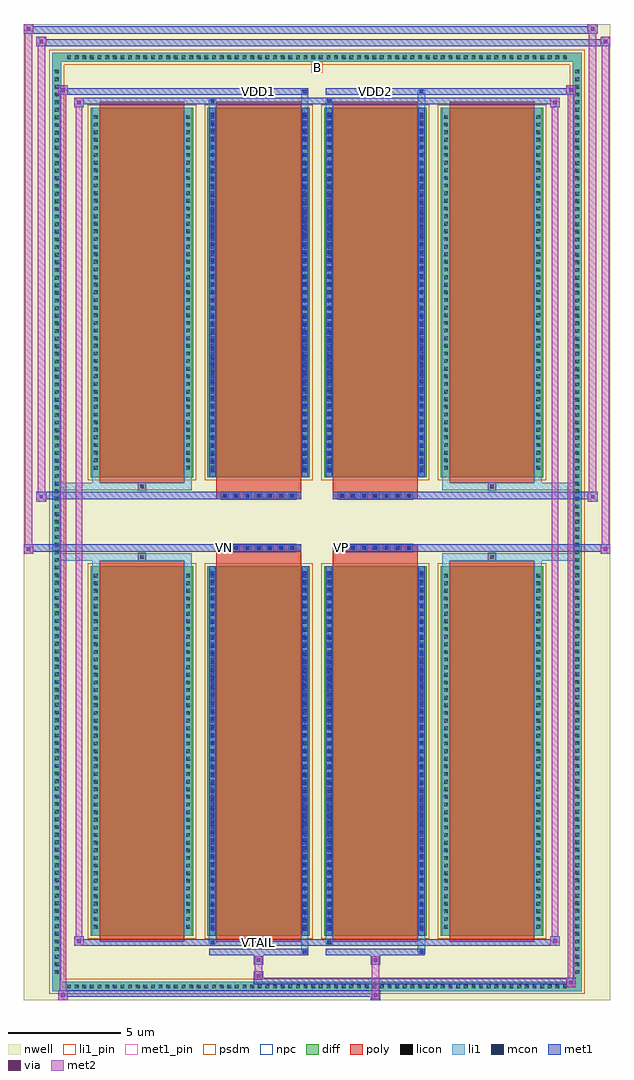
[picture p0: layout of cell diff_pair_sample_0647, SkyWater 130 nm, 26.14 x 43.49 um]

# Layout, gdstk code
import gdstk
lib = gdstk.Library(unit=1e-6, precision=5e-09)
def R(c, l, rs):  # rectangles x0, y0, x1, y1
    for r in rs: c.add(gdstk.rectangle(r[:2], r[2:], *l))
def A(c, l, x, y, w, h, nx, ny, dx, dy):  # array of equal rectangles
    R(c, l, [(x+i*dx, y+j*dy, x+i*dx+w, y+j*dy+h) for i in range(nx) for j in range(ny)])
def P(c, l, *ps):  # polygons
    for p in ps: c.add(gdstk.Polygon(p, *l))
nwell = (64, 20)
diff = (65, 20)
poly = (66, 20)
licon = (66, 44)
li1_pin = (67, 16)
li1 = (67, 20)
mcon = (67, 44)
met1_pin = (68, 16)
met1 = (68, 20)
via = (68, 44)
met2 = (69, 20)
psdm = (94, 20)
npc = (95, 20)

diff_pair_sample_0647 = lib.new_cell('diff_pair_sample_0647')
R(diff_pair_sample_0647, nwell, [(-13.07,-21.31,13.07,22.18), (-10.39,-19.5,-0.01,-0.8), (0.01,-19.5,10.39,-0.8), (-10.39,0.8,-0.01,19.5), (0.01,0.8,10.39,19.5)])
A(diff_pair_sample_0647, diff, -11.255, -20.91, 0.41, 0.41, 66, 2, 0.34, 41.41)
A(diff_pair_sample_0647, diff, -11.8, -20.265, 0.41, 0.41, 1, 119, 0, 0.34)
A(diff_pair_sample_0647, diff, 11.39, -20.265, 0.41, 0.41, 1, 119, 0, 0.34)
A(diff_pair_sample_0647, diff, -10.08, -18.455, 4.56, 16.47, 4, 2, 5.2, 20.44)
R(diff_pair_sample_0647, diff, [(-11.255,-20.91,11.255,-20.5), (-11.8,-20.265,-11.39,20.265), (11.39,-20.265,11.8,20.265), (-11.255,20.5,11.255,20.91)])
P(diff_pair_sample_0647, diff, [(11.8,20.91),(-11.8,20.91),(-11.8,-20.5),(-11.39,-20.5),(-11.39,20.5),(11.39,20.5),(11.39,-20.5),(-11.39,-20.5),(-11.8,-20.5),(-11.8,-20.91),(11.8,-20.91)])
A(diff_pair_sample_0647, poly, -9.69, -18.705, 3.78, 16.97, 4, 2, 5.2, 20.44)
A(diff_pair_sample_0647, poly, -4.265, -1.33, 0.33, 0.33, 7, 2, 0.5, 2.33)
A(diff_pair_sample_0647, poly, 0.935, -1.33, 0.33, 0.33, 7, 2, 0.5, 2.33)
R(diff_pair_sample_0647, poly, [(-7.965,-1.735,-7.635,-1.405), (-7.965,-1.735,-7.635,-1.405), (-4.49,-1.735,-0.71,-1.33), (0.71,-1.735,4.49,-1.33), (7.635,-1.735,7.965,-1.405), (7.635,-1.735,7.965,-1.405), (-4.49,-1.33,-0.71,-1), (0.71,-1.33,4.49,-1), (-4.49,1,-0.71,1.33), (0.71,1,4.49,1.33), (-4.49,1.33,-0.71,1.735), (0.71,1.33,4.49,1.735), (-7.965,1.405,-7.635,1.735), (-7.965,1.405,-7.635,1.735), (7.635,1.405,7.965,1.735), (7.635,1.405,7.965,1.735)])
A(diff_pair_sample_0647, licon, -11.135, -20.79, 0.17, 0.17, 66, 2, 0.34, 41.41)
A(diff_pair_sample_0647, licon, -11.68, -20.145, 0.17, 0.17, 1, 119, 0, 0.34)
A(diff_pair_sample_0647, licon, 11.51, -20.145, 0.17, 0.17, 1, 119, 0, 0.34)
A(diff_pair_sample_0647, licon, -9.94, -18.125, 0.17, 0.17, 1, 47, 0, 0.34)
A(diff_pair_sample_0647, licon, -5.83, -18.125, 0.17, 0.17, 1, 47, 0, 0.34)
A(diff_pair_sample_0647, licon, -4.74, -18.125, 0.17, 0.17, 1, 47, 0, 0.34)
A(diff_pair_sample_0647, licon, -0.63, -18.125, 0.17, 0.17, 1, 47, 0, 0.34)
A(diff_pair_sample_0647, licon, 0.46, -18.125, 0.17, 0.17, 1, 47, 0, 0.34)
A(diff_pair_sample_0647, licon, 4.57, -18.125, 0.17, 0.17, 1, 47, 0, 0.34)
A(diff_pair_sample_0647, licon, 5.66, -18.125, 0.17, 0.17, 1, 47, 0, 0.34)
A(diff_pair_sample_0647, licon, 9.77, -18.125, 0.17, 0.17, 1, 47, 0, 0.34)
A(diff_pair_sample_0647, licon, -4.185, -1.25, 0.17, 0.17, 7, 2, 0.5, 2.33)
A(diff_pair_sample_0647, licon, 1.015, -1.25, 0.17, 0.17, 7, 2, 0.5, 2.33)
A(diff_pair_sample_0647, licon, -9.94, 2.315, 0.17, 0.17, 1, 47, 0, 0.34)
A(diff_pair_sample_0647, licon, -5.83, 2.315, 0.17, 0.17, 1, 47, 0, 0.34)
A(diff_pair_sample_0647, licon, -4.74, 2.315, 0.17, 0.17, 1, 47, 0, 0.34)
A(diff_pair_sample_0647, licon, -0.63, 2.315, 0.17, 0.17, 1, 47, 0, 0.34)
A(diff_pair_sample_0647, licon, 0.46, 2.315, 0.17, 0.17, 1, 47, 0, 0.34)
A(diff_pair_sample_0647, licon, 4.57, 2.315, 0.17, 0.17, 1, 47, 0, 0.34)
A(diff_pair_sample_0647, licon, 5.66, 2.315, 0.17, 0.17, 1, 47, 0, 0.34)
A(diff_pair_sample_0647, licon, 9.77, 2.315, 0.17, 0.17, 1, 47, 0, 0.34)
R(diff_pair_sample_0647, licon, [(-7.885,-1.655,-7.715,-1.485), (7.715,-1.655,7.885,-1.485), (-7.885,1.485,-7.715,1.655), (7.715,1.485,7.885,1.655)])
R(diff_pair_sample_0647, li1_pin, [(-0.25,20,0.25,20.5)])
A(diff_pair_sample_0647, li1, -11.215, -20.87, 0.33, 0.33, 66, 2, 0.34, 41.41)
A(diff_pair_sample_0647, li1, -11.76, -20.225, 0.33, 0.33, 1, 119, 0, 0.34)
A(diff_pair_sample_0647, li1, 11.43, -20.225, 0.33, 0.33, 1, 119, 0, 0.34)
A(diff_pair_sample_0647, li1, -4.74, -18.225, 0.17, 0.17, 1, 45, 0, 0.36)
A(diff_pair_sample_0647, li1, -0.63, -18.225, 0.17, 0.17, 1, 45, 0, 0.36)
A(diff_pair_sample_0647, li1, 0.46, -18.225, 0.17, 0.17, 1, 45, 0, 0.36)
A(diff_pair_sample_0647, li1, 4.57, -18.225, 0.17, 0.17, 1, 45, 0, 0.36)
A(diff_pair_sample_0647, li1, -10.02, -18.205, 0.33, 0.33, 1, 47, 0, 0.34)
A(diff_pair_sample_0647, li1, -5.91, -18.205, 0.33, 0.33, 1, 47, 0, 0.34)
A(diff_pair_sample_0647, li1, -4.82, -18.205, 0.33, 0.33, 1, 47, 0, 0.34)
A(diff_pair_sample_0647, li1, -0.71, -18.205, 0.33, 0.33, 1, 47, 0, 0.34)
A(diff_pair_sample_0647, li1, 0.38, -18.205, 0.33, 0.33, 1, 47, 0, 0.34)
A(diff_pair_sample_0647, li1, 4.49, -18.205, 0.33, 0.33, 1, 47, 0, 0.34)
A(diff_pair_sample_0647, li1, 5.58, -18.205, 0.33, 0.33, 1, 47, 0, 0.34)
A(diff_pair_sample_0647, li1, 9.69, -18.205, 0.33, 0.33, 1, 47, 0, 0.34)
A(diff_pair_sample_0647, li1, -4.265, -1.33, 0.33, 0.33, 7, 2, 0.5, 2.33)
A(diff_pair_sample_0647, li1, 0.935, -1.33, 0.33, 0.33, 7, 2, 0.5, 2.33)
A(diff_pair_sample_0647, li1, -4.74, 2.215, 0.17, 0.17, 1, 45, 0, 0.36)
A(diff_pair_sample_0647, li1, -0.63, 2.215, 0.17, 0.17, 1, 45, 0, 0.36)
A(diff_pair_sample_0647, li1, 0.46, 2.215, 0.17, 0.17, 1, 45, 0, 0.36)
A(diff_pair_sample_0647, li1, 4.57, 2.215, 0.17, 0.17, 1, 45, 0, 0.36)
A(diff_pair_sample_0647, li1, -10.02, 2.235, 0.33, 0.33, 1, 47, 0, 0.34)
A(diff_pair_sample_0647, li1, -5.91, 2.235, 0.33, 0.33, 1, 47, 0, 0.34)
A(diff_pair_sample_0647, li1, -4.82, 2.235, 0.33, 0.33, 1, 47, 0, 0.34)
A(diff_pair_sample_0647, li1, -0.71, 2.235, 0.33, 0.33, 1, 47, 0, 0.34)
A(diff_pair_sample_0647, li1, 0.38, 2.235, 0.33, 0.33, 1, 47, 0, 0.34)
A(diff_pair_sample_0647, li1, 4.49, 2.235, 0.33, 0.33, 1, 47, 0, 0.34)
A(diff_pair_sample_0647, li1, 5.58, 2.235, 0.33, 0.33, 1, 47, 0, 0.34)
A(diff_pair_sample_0647, li1, 9.69, 2.235, 0.33, 0.33, 1, 47, 0, 0.34)
R(diff_pair_sample_0647, li1, [(-11.8,-20.91,-11.39,-20.5), (-11.8,-20.91,-11.39,-20.5), (-11.39,-20.91,11.39,-20.5), (11.39,-20.91,11.8,-20.5), (11.39,-20.91,11.8,-20.5), (-11.8,-20.5,-11.39,20.5), (11.39,-20.5,11.8,20.5), (-0.71,-19.26,-0.38,-18.455), (-0.63,-19.26,-0.46,-19.09), (4.49,-19.26,4.82,-18.455), (4.57,-19.26,4.74,-19.09), (-4.82,-18.83,-4.49,-18.455), (-4.74,-18.83,-4.57,-18.66), (0.38,-18.83,0.71,-18.455), (0.46,-18.83,0.63,-18.66), (-10.02,-18.455,-9.69,-1.985), (-5.91,-18.455,-5.58,-1.985), (-4.82,-18.455,-4.49,-1.985), (-0.71,-18.455,-0.38,-1.985), (0.38,-18.455,0.71,-1.985), (4.49,-18.455,4.82,-1.985), (5.58,-18.455,5.91,-1.985), (9.69,-18.455,10.02,-1.985), (-4.74,-18.225,-4.57,-2.215), (-0.63,-18.225,-0.46,-2.215), (0.46,-18.225,0.63,-2.215), (4.57,-18.225,4.74,-2.215), (-10.02,-1.985,-9.69,-1.405), (-5.91,-1.985,-5.58,-1.405), (5.58,-1.985,5.91,-1.405), (9.69,-1.985,10.02,-1.405), (-11.8,-1.735,-7.965,-1.405), (-10.02,-1.735,-7.965,-1.405), (-7.965,-1.735,-7.635,-1.405), (-7.635,-1.735,-5.58,-1.405), (5.58,-1.735,7.635,-1.405), (7.635,-1.735,7.965,-1.405), (7.635,-1.735,11.8,-1.405), (7.965,-1.735,10.02,-1.405), (-11.8,1.405,-7.965,1.735), (-10.02,1.405,-7.965,1.735), (-10.02,1.405,-9.69,1.985), (-7.965,1.405,-7.635,1.735), (-7.635,1.405,-5.58,1.735), (-5.91,1.405,-5.58,1.985), (5.58,1.405,7.635,1.735), (5.58,1.405,5.91,1.985), (7.635,1.405,7.965,1.735), (7.635,1.405,11.8,1.735), (7.965,1.405,10.02,1.735), (9.69,1.405,10.02,1.985), (-10.02,1.985,-9.69,18.455), (-5.91,1.985,-5.58,18.455), (-4.82,1.985,-4.49,18.455), (-0.71,1.985,-0.38,18.455), (0.38,1.985,0.71,18.455), (4.49,1.985,4.82,18.455), (5.58,1.985,5.91,18.455), (9.69,1.985,10.02,18.455), (-4.74,2.215,-4.57,18.225), (-0.63,2.215,-0.46,18.225), (0.46,2.215,0.63,18.225), (4.57,2.215,4.74,18.225), (-4.82,18.455,-4.49,18.83), (-0.71,18.455,-0.38,19.26), (0.38,18.455,0.71,18.83), (4.49,18.455,4.82,19.26), (-4.74,18.66,-4.57,18.83), (0.46,18.66,0.63,18.83), (-0.63,19.09,-0.46,19.26), (4.57,19.09,4.74,19.26), (-11.8,20.5,-11.39,20.91), (-11.8,20.5,-11.39,20.91), (-11.39,20.5,11.39,20.91), (11.39,20.5,11.8,20.91), (11.39,20.5,11.8,20.91)])
A(diff_pair_sample_0647, mcon, -4.74, -18.225, 0.17, 0.17, 1, 45, 0, 0.36)
A(diff_pair_sample_0647, mcon, -0.63, -18.225, 0.17, 0.17, 1, 45, 0, 0.36)
A(diff_pair_sample_0647, mcon, 0.46, -18.225, 0.17, 0.17, 1, 45, 0, 0.36)
A(diff_pair_sample_0647, mcon, 4.57, -18.225, 0.17, 0.17, 1, 45, 0, 0.36)
A(diff_pair_sample_0647, mcon, -4.185, -1.25, 0.17, 0.17, 7, 2, 0.5, 2.33)
A(diff_pair_sample_0647, mcon, 1.015, -1.25, 0.17, 0.17, 7, 2, 0.5, 2.33)
A(diff_pair_sample_0647, mcon, -4.74, 2.215, 0.17, 0.17, 1, 45, 0, 0.36)
A(diff_pair_sample_0647, mcon, -0.63, 2.215, 0.17, 0.17, 1, 45, 0, 0.36)
A(diff_pair_sample_0647, mcon, 0.46, 2.215, 0.17, 0.17, 1, 45, 0, 0.36)
A(diff_pair_sample_0647, mcon, 4.57, 2.215, 0.17, 0.17, 1, 45, 0, 0.36)
R(diff_pair_sample_0647, mcon, [(-0.63,-19.26,-0.46,-19.09), (4.57,-19.26,4.74,-19.09), (-4.74,-18.83,-4.57,-18.66), (0.46,-18.83,0.63,-18.66), (-4.74,18.66,-4.57,18.83), (0.46,18.66,0.63,18.83), (-0.63,19.09,-0.46,19.26), (4.57,19.09,4.74,19.26)])
R(diff_pair_sample_0647, met1_pin, [(-2.735,-18.87,-2.465,-18.6), (-4.235,-1.29,-3.965,-1.02), (0.965,-1.29,1.235,-1.02), (-2.735,19.05,-2.465,19.32), (2.465,19.05,2.735,19.32)])
A(diff_pair_sample_0647, met1, -4.8, -18.285, 0.29, 0.29, 1, 45, 0, 0.36)
A(diff_pair_sample_0647, met1, -0.69, -18.285, 0.29, 0.29, 1, 45, 0, 0.36)
A(diff_pair_sample_0647, met1, 0.4, -18.285, 0.29, 0.29, 1, 45, 0, 0.36)
A(diff_pair_sample_0647, met1, 4.51, -18.285, 0.29, 0.29, 1, 45, 0, 0.36)
A(diff_pair_sample_0647, met1, -4.245, -1.31, 0.29, 0.29, 7, 2, 0.5, 2.33)
A(diff_pair_sample_0647, met1, 0.955, -1.31, 0.29, 0.29, 7, 2, 0.5, 2.33)
A(diff_pair_sample_0647, met1, -4.8, 2.155, 0.29, 0.29, 1, 45, 0, 0.36)
A(diff_pair_sample_0647, met1, -0.69, 2.155, 0.29, 0.29, 1, 45, 0, 0.36)
A(diff_pair_sample_0647, met1, 0.4, 2.155, 0.29, 0.29, 1, 45, 0, 0.36)
A(diff_pair_sample_0647, met1, 4.51, 2.155, 0.29, 0.29, 1, 45, 0, 0.36)
R(diff_pair_sample_0647, met1, [(-11.53,-21.31,-11.1,-20.88), (2.385,-21.31,2.815,-20.88), (-11.53,-21.17,2.815,-20.88), (11.1,-20.74,11.53,-20.31), (-2.815,-20.6,11.53,-20.31), (-2.815,-20.46,-2.385,-20.03), (-2.815,-19.75,-2.385,-19.32), (2.385,-19.75,2.815,-19.32), (-4.8,-19.32,-0.4,-19.03), (-0.69,-19.32,-0.4,-19.03), (0.4,-19.32,4.8,-19.03), (4.51,-19.32,4.8,-19.03), (-10.82,-18.89,-10.39,-18.46), (-10.82,-18.89,-4.8,-18.6), (-4.8,-18.89,-4.51,-18.6), (-4.8,-18.89,-0.4,-18.6), (-0.4,-18.89,0.4,-18.6), (0.4,-18.89,0.69,-18.6), (0.4,-18.89,4.8,-18.6), (4.8,-18.89,10.82,-18.6), (10.39,-18.89,10.82,-18.46), (-4.8,-18.455,-4.51,-1.985), (-0.69,-18.455,-0.4,-1.985), (0.4,-18.455,0.69,-1.985), (4.51,-18.455,4.8,-1.985), (-13.07,-1.43,-12.64,-1), (12.64,-1.43,13.07,-1), (-13.07,-1.33,-0.71,-1), (-4.49,-1.33,-0.71,-1), (0.71,-1.33,4.49,-1), (0.71,-1.33,13.07,-1), (-12.5,0.9,-12.07,1.33), (12.07,0.9,12.5,1.33), (-12.5,1,-4.49,1.33), (-4.49,1,-0.71,1.33), (0.71,1,4.49,1.33), (4.49,1,12.5,1.33), (-4.8,1.985,-4.51,18.455), (-0.69,1.985,-0.4,18.455), (0.4,1.985,0.69,18.455), (4.51,1.985,4.8,18.455), (-10.82,18.46,-10.39,18.89), (10.39,18.46,10.82,18.89), (-10.82,18.6,-4.8,18.89), (-4.8,18.6,-4.51,18.89), (-4.8,18.6,-0.4,18.89), (-0.4,18.6,0.4,18.89), (0.4,18.6,0.69,18.89), (0.4,18.6,4.8,18.89), (4.8,18.6,10.82,18.89), (-11.53,19.03,-11.1,19.46), (-11.53,19.03,-4.8,19.32), (-4.8,19.03,-0.4,19.32), (-0.69,19.03,-0.4,19.32), (0.4,19.03,4.8,19.32), (4.51,19.03,4.8,19.32), (4.8,19.03,11.53,19.32), (11.1,19.03,11.53,19.46), (-12.5,21.18,-12.07,21.61), (-12.5,21.18,-10.39,21.51), (-10.39,21.18,10.39,21.51), (10.39,21.18,13.07,21.51), (12.64,21.18,13.07,21.61), (-13.07,21.75,-12.64,22.18), (-13.07,21.75,-10.39,22.08), (-10.39,21.75,10.39,22.08), (10.39,21.75,12.5,22.08), (12.07,21.75,12.5,22.18)])
R(diff_pair_sample_0647, via, [(-11.39,-21.17,-11.24,-21.02), (2.525,-21.17,2.675,-21.02), (11.24,-20.6,11.39,-20.45), (-2.675,-20.32,-2.525,-20.17), (-2.675,-19.61,-2.525,-19.46), (2.525,-19.61,2.675,-19.46), (-10.68,-18.75,-10.53,-18.6), (10.53,-18.75,10.68,-18.6), (-12.93,-1.29,-12.78,-1.14), (12.78,-1.29,12.93,-1.14), (-12.36,1.04,-12.21,1.19), (12.21,1.04,12.36,1.19), (-10.68,18.6,-10.53,18.75), (10.53,18.6,10.68,18.75), (-11.39,19.17,-11.24,19.32), (11.24,19.17,11.39,19.32), (-12.36,21.32,-12.21,21.47), (12.78,21.32,12.93,21.47), (-12.93,21.89,-12.78,22.04), (12.21,21.89,12.36,22.04)])
R(diff_pair_sample_0647, met2, [(-11.53,-21.31,-11.1,-20.88), (-11.46,-21.31,-11.17,19.46), (-11.17,-21.31,-11.1,-20.88), (-11.48,-21.26,-11.15,-20.93), (2.435,-21.26,2.765,-20.93), (2.435,-20.93,2.765,-19.7), (11.1,-20.74,11.53,-20.31), (11.17,-20.74,11.46,19.46), (11.46,-20.74,11.53,-20.31), (11.15,-20.69,11.48,-20.36), (-2.765,-20.41,-2.435,-20.08), (-2.765,-20.08,-2.435,-19.7), (-2.765,-19.7,-2.435,-19.37), (2.435,-19.7,2.765,-19.37), (-10.82,-18.89,-10.39,-18.46), (-10.75,-18.89,-10.46,18.89), (-10.46,-18.89,-10.39,-18.46), (10.39,-18.89,10.82,-18.46), (10.46,-18.89,10.75,18.89), (10.75,-18.89,10.82,-18.46), (-10.77,-18.84,-10.44,-18.51), (10.44,-18.84,10.77,-18.51), (-13.07,-1.43,-12.64,-1), (-13.02,-1.43,-12.69,22.18), (-12.69,-1.43,-12.64,-1), (12.64,-1.43,13.07,-1), (12.69,-1.43,13.02,21.61), (13.02,-1.43,13.07,-1), (-13.02,-1.38,-12.69,-1.05), (12.69,-1.38,13.02,-1.05), (-12.5,0.9,-12.07,1.33), (-12.45,0.9,-12.12,21.61), (-12.12,0.9,-12.07,1.33), (12.07,0.9,12.5,1.33), (12.12,0.9,12.45,22.18), (12.45,0.9,12.5,1.33), (-12.45,0.95,-12.12,1.28), (12.12,0.95,12.45,1.28), (-10.82,18.46,-10.39,18.89), (-10.46,18.46,-10.39,18.89), (10.39,18.46,10.82,18.89), (10.75,18.46,10.82,18.89), (-10.77,18.51,-10.44,18.84), (10.44,18.51,10.77,18.84), (-11.53,19.03,-11.1,19.46), (-11.17,19.03,-11.1,19.46), (11.1,19.03,11.53,19.46), (11.46,19.03,11.53,19.46), (-11.48,19.08,-11.15,19.41), (11.15,19.08,11.48,19.41), (-12.5,21.18,-12.07,21.61), (-12.12,21.18,-12.07,21.61), (12.64,21.18,13.07,21.61), (13.02,21.18,13.07,21.61), (-12.45,21.23,-12.12,21.56), (12.69,21.23,13.02,21.56), (-13.07,21.75,-12.64,22.18), (-12.69,21.75,-12.64,22.18), (12.07,21.75,12.5,22.18), (12.45,21.75,12.5,22.18), (-13.02,21.8,-12.69,22.13), (12.12,21.8,12.45,22.13)])
A(diff_pair_sample_0647, psdm, -10.21, -18.585, 4.82, 16.73, 4, 2, 5.2, 20.44)
P(diff_pair_sample_0647, psdm, [(11.93,21.04),(-11.93,21.04),(-11.93,-20.37),(-11.26,-20.37),(-11.26,20.37),(11.26,20.37),(11.26,-20.37),(-11.26,-20.37),(-11.93,-20.37),(-11.93,-21.04),(11.93,-21.04)])
A(diff_pair_sample_0647, npc, -4.285, -1.35, 0.37, 0.37, 7, 2, 0.5, 2.33)
A(diff_pair_sample_0647, npc, 0.915, -1.35, 0.37, 0.37, 7, 2, 0.5, 2.33)
R(diff_pair_sample_0647, npc, [(-7.985,-1.755,-7.615,-1.385), (7.615,-1.755,7.985,-1.385), (-4.285,-1.35,-3.415,-0.98), (-4.285,-1.35,-3.415,-0.98), (-3.785,-1.35,-2.915,-0.98), (-3.785,-1.35,-2.915,-0.98), (-3.285,-1.35,-2.415,-0.98), (-3.285,-1.35,-2.415,-0.98), (-2.785,-1.35,-1.915,-0.98), (-2.785,-1.35,-1.915,-0.98), (-2.285,-1.35,-1.415,-0.98), (-2.285,-1.35,-1.415,-0.98), (-1.785,-1.35,-0.915,-0.98), (-1.785,-1.35,-0.915,-0.98), (0.915,-1.35,1.785,-0.98), (0.915,-1.35,1.785,-0.98), (1.415,-1.35,2.285,-0.98), (1.415,-1.35,2.285,-0.98), (1.915,-1.35,2.785,-0.98), (1.915,-1.35,2.785,-0.98), (2.415,-1.35,3.285,-0.98), (2.415,-1.35,3.285,-0.98), (2.915,-1.35,3.785,-0.98), (2.915,-1.35,3.785,-0.98), (3.415,-1.35,4.285,-0.98), (3.415,-1.35,4.285,-0.98), (-4.285,0.98,-3.415,1.35), (-4.285,0.98,-3.415,1.35), (-3.785,0.98,-2.915,1.35), (-3.785,0.98,-2.915,1.35), (-3.285,0.98,-2.415,1.35), (-3.285,0.98,-2.415,1.35), (-2.785,0.98,-1.915,1.35), (-2.785,0.98,-1.915,1.35), (-2.285,0.98,-1.415,1.35), (-2.285,0.98,-1.415,1.35), (-1.785,0.98,-0.915,1.35), (-1.785,0.98,-0.915,1.35), (0.915,0.98,1.785,1.35), (0.915,0.98,1.785,1.35), (1.415,0.98,2.285,1.35), (1.415,0.98,2.285,1.35), (1.915,0.98,2.785,1.35), (1.915,0.98,2.785,1.35), (2.415,0.98,3.285,1.35), (2.415,0.98,3.285,1.35), (2.915,0.98,3.785,1.35), (2.915,0.98,3.785,1.35), (3.415,0.98,4.285,1.35), (3.415,0.98,4.285,1.35), (-7.985,1.385,-7.615,1.755), (7.615,1.385,7.985,1.755)])
diff_pair_sample_0647.add(gdstk.Label('VTAIL', (-2.6,-18.735), layer=68, texttype=5))
diff_pair_sample_0647.add(gdstk.Label('VN', (-4.1,-1.155), layer=68, texttype=5))
diff_pair_sample_0647.add(gdstk.Label('VP', (1.1,-1.155), layer=68, texttype=5))
diff_pair_sample_0647.add(gdstk.Label('B', (0,20.25), layer=67, texttype=5))
diff_pair_sample_0647.add(gdstk.Label('VDD2', (2.6,19.185), layer=68, texttype=5))
diff_pair_sample_0647.add(gdstk.Label('VDD1', (-2.6,19.185), layer=68, texttype=5))

lib.write_gds('diff_pair_sample_0647.gds')
